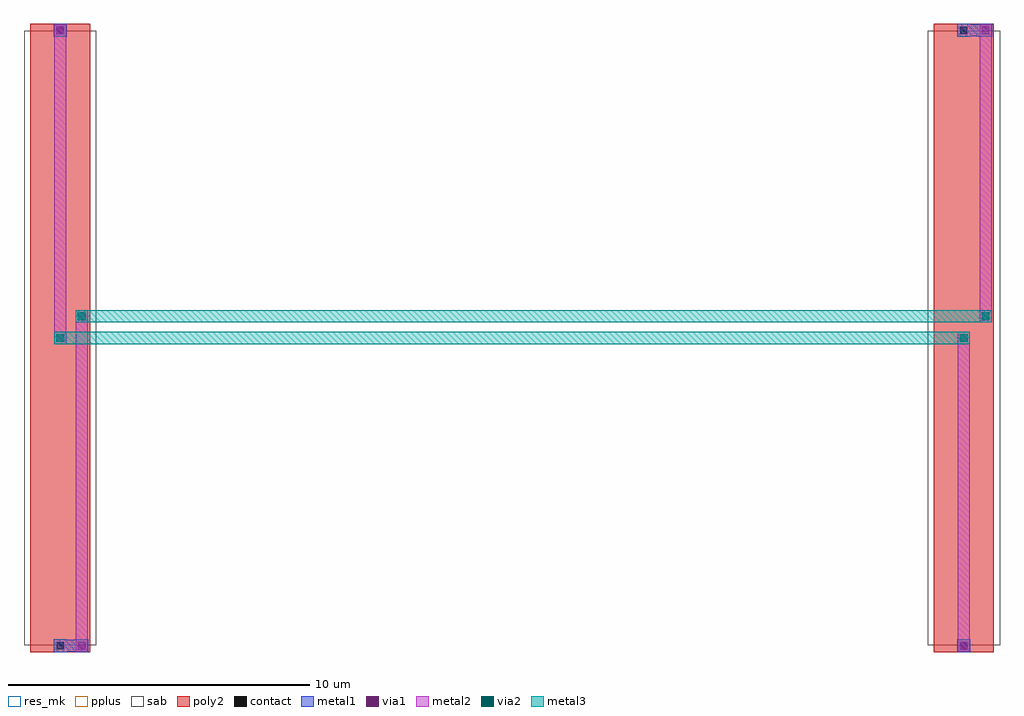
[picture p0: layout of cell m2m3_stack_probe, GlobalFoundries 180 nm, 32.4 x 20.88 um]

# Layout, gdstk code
import gdstk
lib = gdstk.Library(unit=1e-6, precision=1e-09)
def R(c, l, rs):  # rectangles x0, y0, x1, y1
    for r in rs: c.add(gdstk.rectangle(r[:2], r[2:], *l))
def P(c, l, *ps):  # polygons
    for p in ps: c.add(gdstk.Polygon(p, *l))
poly2 = (30, 0)
pplus = (31, 0)
contact = (33, 0)
metal1 = (34, 0)
via1 = (35, 0)
metal2 = (36, 0)
via2 = (38, 0)
metal3 = (42, 0)
sab = (49, 0)
res_mk = (110, 5)

m2m3_stack_probe = lib.new_cell('m2m3_stack_probe')
R(m2m3_stack_probe, poly2, [(0,-0.44,2,0), (30,-0.44,32,0), (0,0,2,20), (30,0,32,20), (0,20,2,20.44), (30,20,32,20.44)])
R(m2m3_stack_probe, pplus, [(-0.2,-0.2,2.2,20.2), (29.8,-0.2,32.2,20.2)])
R(m2m3_stack_probe, contact, [(0.88,-0.34,1.12,-0.1), (30.88,-0.34,31.12,-0.1), (0.88,20.1,1.12,20.34), (30.88,20.1,31.12,20.34)])
R(m2m3_stack_probe, metal1, [(0.78,-0.44,1.22,0), (1.5,-0.44,1.94,0), (30.78,-0.44,31.22,0), (30.78,-0.44,31.22,0), (1,-0.42,1.72,-0.02), (0.78,20,1.22,20.44), (0.78,20,1.22,20.44), (30.78,20,31.22,20.44), (31.5,20,31.94,20.44), (31,20.02,31.72,20.42)])
P(m2m3_stack_probe, metal1, [(1,20.02),(1,20.42),(1,20.42),(1,20.02)],
  [(31,-0.42),(31,-0.02),(31,-0.02),(31,-0.42)])
R(m2m3_stack_probe, via1, [(1.59,-0.35,1.85,-0.09), (30.87,-0.35,31.13,-0.09), (0.87,20.09,1.13,20.35), (31.59,20.09,31.85,20.35)])
R(m2m3_stack_probe, metal2, [(1.52,-0.42,1.92,-0.02), (30.8,-0.42,31.2,-0.02), (1.52,-0.22,1.92,10.72), (30.8,-0.22,31.2,10), (0.8,9.8,1.2,10.2), (30.8,9.8,31.2,10.2), (0.8,10,1.2,20.22), (1.52,10.52,1.92,10.92), (31.52,10.52,31.92,10.92), (31.52,10.72,31.92,20.22), (0.8,20.02,1.2,20.42), (31.52,20.02,31.92,20.42)])
R(m2m3_stack_probe, via2, [(0.87,9.87,1.13,10.13), (30.87,9.87,31.13,10.13), (1.59,10.59,1.85,10.85), (31.59,10.59,31.85,10.85)])
R(m2m3_stack_probe, metal3, [(0.8,9.8,1.2,10.2), (1,9.8,31,10.2), (30.8,9.8,31.2,10.2), (1.52,10.52,1.92,10.92), (1.72,10.52,31.72,10.92), (31.52,10.52,31.92,10.92)])
R(m2m3_stack_probe, sab, [(-0.2,-0.2,2.2,20.2), (29.8,-0.2,32.2,20.2)])
R(m2m3_stack_probe, res_mk, [(-0.2,-0.2,2.2,20.2), (29.8,-0.2,32.2,20.2)])

lib.write_gds('m2m3_stack_probe.gds')
